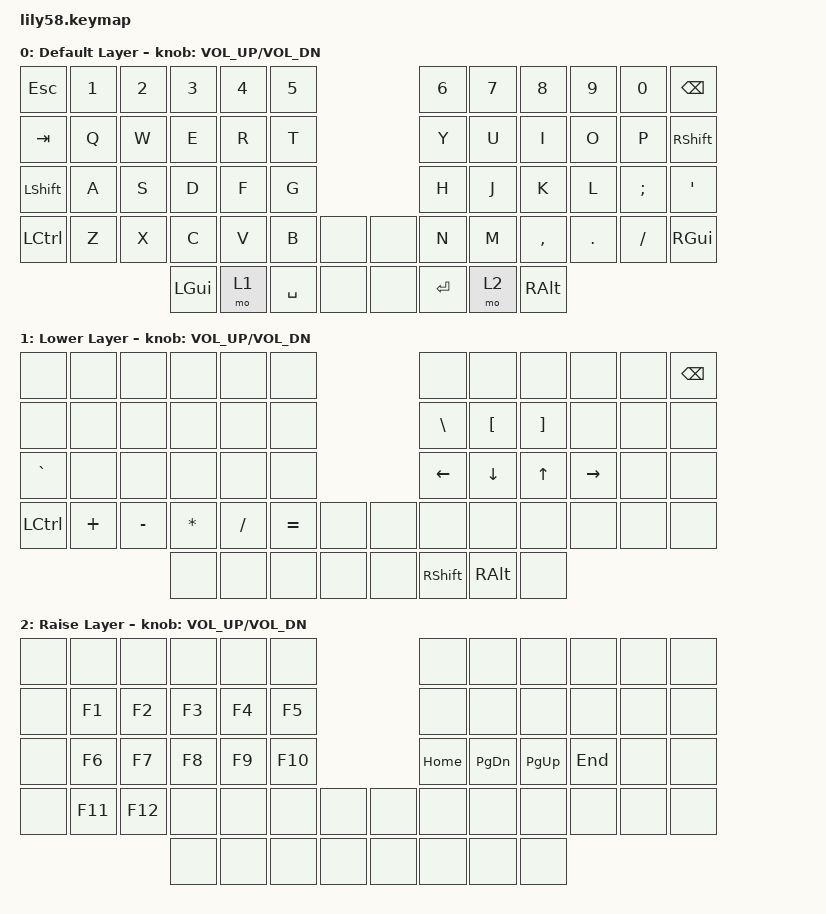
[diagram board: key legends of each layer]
/*
 * Copyright (c) 2020 The ZMK Contributors
 *
 * SPDX-License-Identifier: MIT
 */

#include <behaviors.dtsi>
#include <dt-bindings/zmk/keys.h>

/ {
    keymap {
        compatible = "zmk,keymap";

        default_layer {
            display-name = "Default Layer";

            // ------------------------------------------------------------------------------------------------------------
            // |  ESC  |  1  |  2  |  3   |  4   |  5   |                   |  6   |  7    |  8    |  9   |   0   | BSPC  |
            // |  TAB  |  Q  |  W  |  E   |  R   |  T   |                   |  Y   |  U    |  I    |  O   |   P   | RSHIFT|
            // | LSHIFT|  A  |  S  |  D   |  F   |  G   |                   |  H   |  J    |  K    |  L   |   ;   |   '   |
            // | LCTRL |  Z  |  X  |  C   |  V   |  B   |        |   |      |  N   |  M    |  ,    |  .   |   /   |  RGUI |
            //                     | LGUI | Layer1  | SPACE|     |   |      |  ENTER | Layer2 | RALT  |

            bindings = <
&kp ESC     &kp N1  &kp N2  &kp N3    &kp N4  &kp N5                     &kp N6     &kp N7  &kp N8     &kp N9   &kp N0    &kp BSPC
&kp TAB     &kp Q   &kp W   &kp E     &kp R   &kp T                      &kp Y      &kp U   &kp I      &kp O    &kp P     &kp RSHIFT
&kp LSHIFT  &kp A   &kp S   &kp D     &kp F   &kp G                      &kp H      &kp J   &kp K      &kp L    &kp SEMI  &kp SQT
&kp LCTRL   &kp Z   &kp X   &kp C     &kp V   &kp B      &none    &none  &kp N      &kp M   &kp COMMA  &kp DOT  &kp FSLH  &kp RGUI
                            &kp LGUI  &mo 1   &kp SPACE  &none    &none  &kp ENTER  &mo 2   &kp RALT
            >;

            sensor-bindings = <&inc_dec_kp C_VOL_UP C_VOL_DN>;
        };

        layer_1 {
            display-name = "Lower Layer";

            // ------------------------------------------------------------------------------------------------------------
            // |      |     |     |      |      |      |                   |   \   |   [   |   ]   |      |       |       |
            // |      |     |     |      |      |      |                   |   \   |   [   |   ]   |      |       |       |
            // |      |     |     |      |      |      |                   | RIGHT | DOWN  | UP    | LEFT |       |       |
            // |      |  +  |  -  |   *  |   /  |   =  |        |  |       |      |       |       |      |       |       |
            //                     |      |      |      |        |  |       |      |       |       |

            bindings = <
&none      &none     &none      &none         &none      &none                      &none            &none          &none     &none            &none  &kp BACKSPACE
&none      &none     &none      &none         &none      &none                      &kp BSLH         &kp LBKT       &kp RBKT  &none            &none  &none
&kp GRAVE  &none     &none      &none         &none      &none                      &kp LEFT_ARROW   &kp DOWN       &kp UP    &kp RIGHT_ARROW  &none  &none
&kp LCTRL  &kp PLUS  &kp MINUS  &kp ASTERISK  &kp SLASH  &kp EQUAL  &none    &none  &none            &none          &none     &none            &none  &none
                                &none         &none      &none      &none    &none  &kp RIGHT_SHIFT  &kp RIGHT_ALT  &none
            >;

            sensor-bindings = <&inc_dec_kp C_VOL_UP C_VOL_DN>;
        };

        layer_2 {
            display-name = "Raise Layer";

            // ------------------------------------------------------------------------------------------------------------
            // |      |     |     |      |      |      |                   |      |       |       |      |       |       |
            // |      |  F1 | F2  |  F3  | F4   |  F5  |                   |      |       |       |      |       |       |
            // |      |  F6 | F7  |  F8  | F9   |  F10 |                   | HOME | PG_DN | PG_UP | END  |       |       |
            // |      | F11 | F12 |      |      |      |        |  |       |      |       |       |      |       |       |
            //                     |      |      |      |        |  |       |      |       |       |

            bindings = <
&none  &none    &none    &none   &none   &none                    &none     &none      &none      &none    &none  &none
&none  &kp F1   &kp F2   &kp F3  &kp F4  &kp F5                   &none     &none      &none      &none    &none  &none
&none  &kp F6   &kp F7   &kp F8  &kp F9  &kp F10                  &kp HOME  &kp PG_DN  &kp PG_UP  &kp END  &none  &none
&none  &kp F11  &kp F12  &none   &none   &none    &none    &none  &none     &none      &none      &none    &none  &none
                         &none   &none   &none    &none    &none  &none     &none      &none
            >;

            sensor-bindings = <&inc_dec_kp C_VOL_UP C_VOL_DN>;
        };
    };
};
